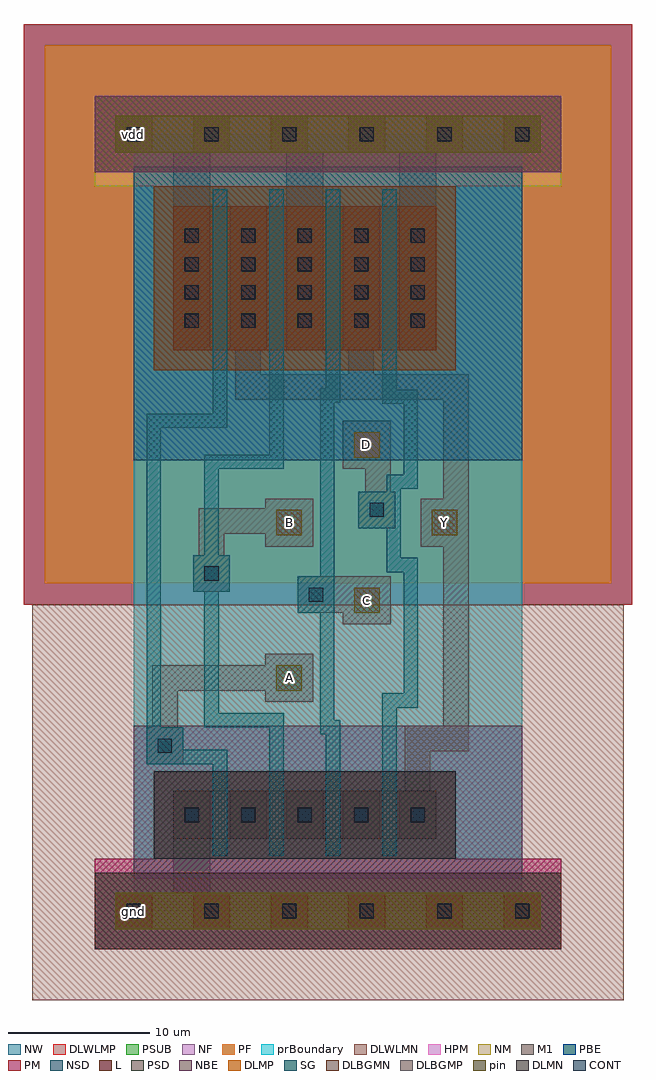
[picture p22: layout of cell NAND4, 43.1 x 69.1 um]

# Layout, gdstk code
import gdstk
lib = gdstk.Library(unit=1e-6, precision=1e-09)
def R(c, l, rs):  # rectangles x0, y0, x1, y1
    for r in rs: c.add(gdstk.rectangle(r[:2], r[2:], *l))
def A(c, l, x, y, w, h, nx, ny, dx, dy):  # array of equal rectangles
    R(c, l, [(x+i*dx, y+j*dy, x+i*dx+w, y+j*dy+h) for i in range(nx) for j in range(ny)])
def P(c, l, *ps):  # polygons
    for p in ps: c.add(gdstk.Polygon(p, *l))
L = (3, 0)
NM = (7, 0)
SG = (8, 0)
PSD = (9, 0)
CONT = (11, 0)
M1 = (13, 0)
NF = (25, 0)
PF = (26, 0)
NSD = (28, 0)
HPM = (33, 0)
PM = (35, 0)
NW = (36, 0)
pin = (48, 1)
PSUB = (140, 0)
PBE = (146, 0)
NBE = (147, 0)
DLWLMP = (150, 0)
DLWLMN = (151, 0)
DLMP = (157, 0)
DLMN = (158, 0)
DLBGMP = (177, 0)
DLBGMN = (178, 0)
prBoundary = (235, 0)

nand4 = lib.new_cell('NAND4')
A(nand4, L, -1.3, -1.3, 2.6, 2.6, 6, 2, 5.5, 55)
R(nand4, L, [(2.8,5.1,21.4,8.5), (2.8,39.7,21.4,49.9)])
R(nand4, NM, [(-2.75,-2.7,30.25,2.7)])
P(nand4, NM, [(1.4,38.3),(1.4,51.3),(-2.75,51.3),(-2.75,57.7),(30.25,57.7),(30.25,51.3),(22.8,51.3),(22.8,38.3)])
P(nand4, SG, [(5.6,3.9),(5.6,10.4),(0.9,10.4),(0.9,35.2),(5.6,35.2),(5.6,51.1),(6.6,51.1),(6.6,34.2),(1.9,34.2),(1.9,13),(3.5,13),(3.5,11.4),(6.6,11.4),(6.6,3.9)],
  [(9.6,3.9),(9.6,13),(5,13),(5,22.6),(4.2,22.6),(4.2,25.2),(5,25.2),(5,32.3),(9.6,32.3),(9.6,51.1),(10.6,51.1),(10.6,31.3),(6,31.3),(6,25.2),(6.8,25.2),(6.8,22.6),(6,22.6),(6,14),(10.6,14),(10.6,3.9)],
  [(13.6,3.9),(13.6,12.5),(13.2,12.5),(13.2,21.1),(11.6,21.1),(11.6,23.7),(13.2,23.7),(13.2,37),(13.6,37),(13.6,51.1),(14.6,51.1),(14.6,36),(14.2,36),(14.2,13.5),(14.6,13.5),(14.6,3.9)],
  [(17.6,3.9),(17.6,15.4),(19.1,15.4),(19.1,24),(17.9,24),(17.9,27.1),(15.9,27.1),(15.9,29.7),(17.9,29.7),(17.9,30.9),(19.1,30.9),(19.1,35.9),(17.6,35.9),(17.6,51.1),(18.6,51.1),(18.6,36.9),(20.1,36.9),(20.1,29.9),(18.9,29.9),(18.9,25),(20.1,25),(20.1,14.4),(18.6,14.4),(18.6,3.9)])
R(nand4, PSD, [(1.4,3.7,22.8,9.9), (-2.75,52.3,30.25,57.7)])
A(nand4, CONT, -0.5, -0.5, 1, 1, 6, 2, 5.5, 55)
A(nand4, CONT, 3.6, 41.3, 1, 1, 1, 4, 0, 2)
A(nand4, CONT, 19.6, 41.3, 1, 1, 1, 4, 0, 2)
R(nand4, CONT, [(3.6,6.3,4.6,7.3), (7.6,6.3,8.6,7.3), (7.6,6.3,8.6,7.3), (11.6,6.3,12.6,7.3), (11.6,6.3,12.6,7.3), (15.6,6.3,16.6,7.3), (15.6,6.3,16.6,7.3), (19.6,6.3,20.6,7.3), (1.7,11.2,2.7,12.2), (12.4,21.9,13.4,22.9), (5,23.4,6,24.4), (16.7,27.9,17.7,28.9), (7.6,41.3,8.6,42.3), (7.6,41.3,8.6,42.3), (11.6,41.3,12.6,42.3), (11.6,41.3,12.6,42.3), (15.6,41.3,16.6,42.3), (15.6,41.3,16.6,42.3), (7.6,43.3,8.6,44.3), (7.6,43.3,8.6,44.3), (11.6,43.3,12.6,44.3), (11.6,43.3,12.6,44.3), (15.6,43.3,16.6,44.3), (15.6,43.3,16.6,44.3), (7.6,45.3,8.6,46.3), (7.6,45.3,8.6,46.3), (11.6,45.3,12.6,46.3), (11.6,45.3,12.6,46.3), (15.6,45.3,16.6,46.3), (15.6,45.3,16.6,46.3), (7.6,47.3,8.6,48.3), (7.6,47.3,8.6,48.3), (11.6,47.3,12.6,48.3), (11.6,47.3,12.6,48.3), (15.6,47.3,16.6,48.3), (15.6,47.3,16.6,48.3)])
A(nand4, M1, 6.8, 5.1, 2.6, 3.4, 3, 1, 4, 0)
P(nand4, M1, [(-1.3,-1.3),(-1.3,1.3),(2.8,1.3),(2.8,8.5),(5.4,8.5),(5.4,1.3),(28.8,1.3),(28.8,-1.3)],
  [(0.9,10.4),(0.9,13),(1.3,13),(1.3,17.4),(9.3,17.4),(9.3,18.2),(12.7,18.2),(12.7,14.8),(9.3,14.8),(9.3,15.6),(3.1,15.6),(3.1,13),(3.5,13),(3.5,10.4)],
  [(14.8,20.3),(14.8,21.1),(11.6,21.1),(11.6,23.7),(18.2,23.7),(18.2,20.3)],
  [(4.2,22.6),(4.2,25.2),(4.6,25.2),(4.6,28.5),(9.3,28.5),(9.3,29.2),(12.7,29.2),(12.7,25.8),(9.3,25.8),(9.3,26.7),(6.4,26.7),(6.4,25.2),(6.8,25.2),(6.8,22.6)],
  [(15.9,27.1),(15.9,29.7),(16.4,29.7),(16.4,31.3),(14.8,31.3),(14.8,34.7),(18.2,34.7),(18.2,29.7),(18.5,29.7),(18.5,27.1)],
  [(18.8,5.1),(18.8,8.5),(19.2,8.5),(19.2,13.1),(21.9,13.1),(21.9,25.8),(20.3,25.8),(20.3,29.2),(21.9,29.2),(21.9,36.2),(7.2,36.2),(7.2,39.7),(6.8,39.7),(6.8,49.9),(9.4,49.9),(9.4,39.7),(9,39.7),(9,38),(15.2,38),(15.2,39.7),(14.8,39.7),(14.8,49.9),(17.4,49.9),(17.4,39.7),(17,39.7),(17,38),(23.7,38),(23.7,11.3),(21,11.3),(21,8.5),(21.4,8.5),(21.4,5.1)],
  [(2.8,39.7),(2.8,53.7),(-1.3,53.7),(-1.3,56.3),(28.8,56.3),(28.8,53.7),(21.4,53.7),(21.4,39.7),(18.8,39.7),(18.8,53.7),(13.4,53.7),(13.4,39.7),(10.8,39.7),(10.8,53.7),(5.4,53.7),(5.4,39.7)])
R(nand4, NF, [(-6.3,23.2,33.8,61.3)])
R(nand4, PF, [(-6.3,23.2,33.8,61.3)])
R(nand4, NSD, [(-2.75,-2.7,30.25,2.7), (1.4,38.3,22.8,51.3)])
P(nand4, HPM, [(-2.75,-2.7),(-2.75,3.7),(1.4,3.7),(1.4,9.9),(22.8,9.9),(22.8,3.7),(30.25,3.7),(30.25,-2.7)],
  [(1.4,38.3),(1.4,51.3),(-2.75,51.3),(-2.75,57.7),(30.25,57.7),(30.25,51.3),(22.8,51.3),(22.8,38.3)])
R(nand4, PM, [(-2.75,52.3,30.25,57.7)])
P(nand4, PM, [(-2.75,-2.7),(-2.75,3.7),(1.4,3.7),(1.4,9.9),(22.8,9.9),(22.8,3.7),(30.25,3.7),(30.25,-2.7)])
R(nand4, NW, [(-7.8,21.7,35.3,62.8)])
R(nand4, pin, [(-1.3,-1.3,28.8,1.3), (10.1,15.6,11.9,17.4), (15.6,21.1,17.4,22.9), (10.1,26.6,11.9,28.4), (21.1,26.6,22.9,28.4), (15.6,32.1,17.4,33.9), (-1.3,53.7,28.8,56.3)])
R(nand4, PSUB, [(-6.3,23.2,33.8,61.3)])
R(nand4, PBE, [(0,31.9,27.5,52.7)])
R(nand4, NBE, [(0,2.3,27.5,13.1)])
R(nand4, DLWLMP, [(-7.8,21.7,35.3,62.8)])
R(nand4, DLWLMN, [(-7.2,-6.3,34.7,21.7)])
R(nand4, DLMP, [(1.4,38.3,22.8,51.3)])
R(nand4, DLMN, [(1.4,3.7,22.8,9.9)])
R(nand4, DLBGMP, [(-2.75,52.3,30.25,57.7)])
R(nand4, DLBGMN, [(-2.75,-2.7,30.25,2.7)])
R(nand4, prBoundary, [(0,0,27.5,55)])
nand4.add(gdstk.Label('Y', (22,27.5), layer=48, texttype=0))
nand4.add(gdstk.Label('A', (11,16.5), layer=48, texttype=0))
nand4.add(gdstk.Label('B', (11,27.5), layer=48, texttype=0))
nand4.add(gdstk.Label('C', (16.5,22), layer=48, texttype=0))
nand4.add(gdstk.Label('D', (16.5,33), layer=48, texttype=0))
nand4.add(gdstk.Label('vdd', (0,55), layer=48, texttype=0))
nand4.add(gdstk.Label('gnd', (0,0), layer=48, texttype=0))

lib.write_gds('NAND4.gds')
